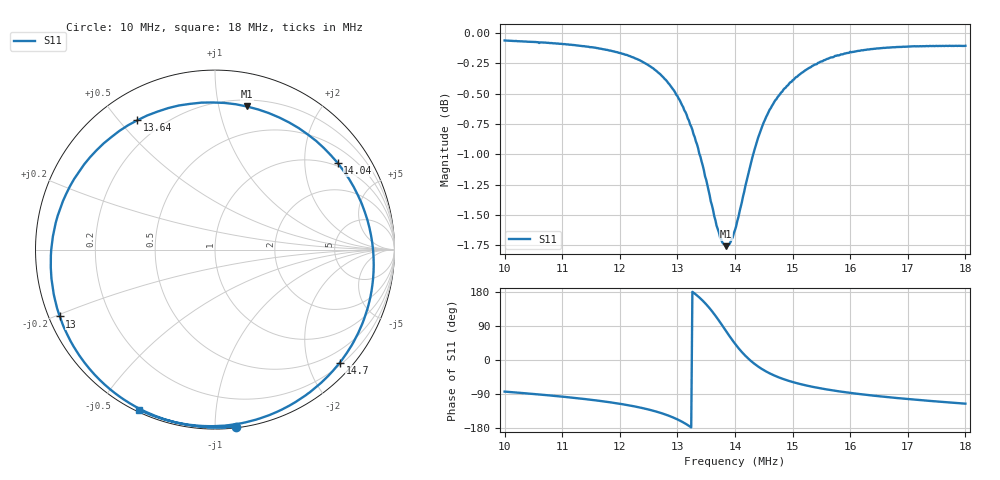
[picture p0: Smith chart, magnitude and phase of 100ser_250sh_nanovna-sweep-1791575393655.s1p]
! NanoVNA Web complex sweep
! Processing: original sample grid, no browser smoothing
# Hz S RI R 50
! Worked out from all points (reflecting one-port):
!   401 points, 10 MHz to 18 MHz, reference 50 ohm
!   lowest |S11| = -1.8 dB at 13.84 MHz (marker M1), VSWR 9.93, Z = 12.7 + j60.7 ohm
!   phase of S11 starts at -83 deg and turns -392 deg over the sweep
!   S11 on the Smith chart (normalised r, x): 10 MHz: 0.01, -1.12; 13 MHz: 0.03, -0.21; 13.64 MHz: 0.11, +0.56; 14.04 MHz: 0.90, +2.90; 14.7 MHz: 0.24, -2.58; 18 MHz: 0.01, -0.63
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1e7  0.1143 -0.9864
1.1e7  -0.1152 -0.983
1.154e7  -0.2673 -0.9496
1.2e7  -0.4231 -0.8854
1.232e7  -0.5518 -0.804
1.258e7  -0.6702 -0.6972
1.28e7  -0.7762 -0.559
1.3e7  -0.8653 -0.3725
1.322e7  -0.9145 -0.0678
1.338e7  -0.8621 0.2287
1.346e7  -0.7848 0.3936
1.352e7  -0.696 0.5148
1.364e7  -0.4333 0.7202
1.374e7  -0.1407 0.8118
1.384e7  0.1773 0.7975
1.392e7  0.4138 0.7079
1.4e7  0.6064 0.5661
1.404e7  0.6835 0.4828
1.416e7  0.8337 0.2122
1.43e7  0.8843 -0.0858
1.45e7  0.8201 -0.4144
1.47e7  0.6961 -0.6292
1.484e7  0.6045 -0.7299
1.5e7  0.5053 -0.8118
1.542e7  0.2839 -0.9286
1.6e7  0.0566 -0.9808
1.7e7  -0.2219 -0.962
1.8e7  -0.4209 -0.8939
